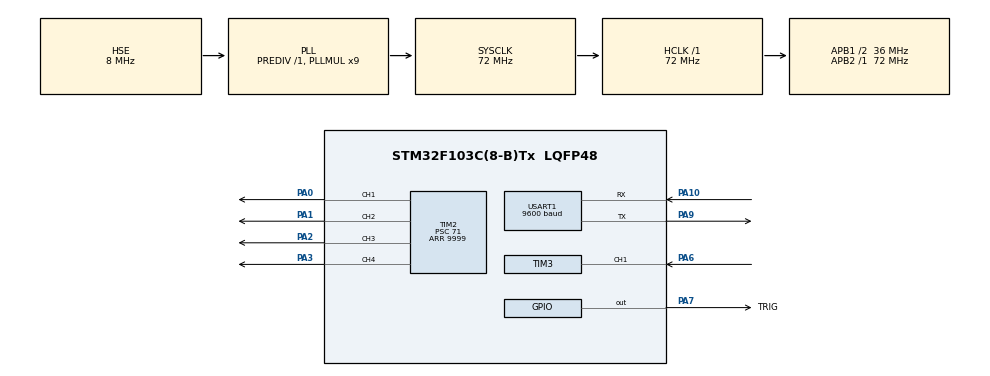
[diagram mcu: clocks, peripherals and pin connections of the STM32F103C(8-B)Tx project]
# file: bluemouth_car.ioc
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FREERTOS.BinarySemaphores01=myBinarySem01,Dynamic,NULL
FREERTOS.Tasks01=defaultTask,24,128,StartDefaultTask,Default,NULL,Dynamic,NULL,NULL;myTask02,8,128,StartTask02,Default,NULL,Dynamic,NULL,NULL
Mcu.Family=STM32F1
Mcu.Name=STM32F103C(8-B)Tx
Mcu.Package=LQFP48
NVIC.PriorityGroup=NVIC_PRIORITYGROUP_4
NVIC.TIM1_UP_IRQn=true\:15\:0\:false\:false\:true\:false\:false\:true\:true
NVIC.TIM3_IRQn=true\:5\:0\:false\:false\:true\:true\:true\:true\:true
NVIC.TimeBase=TIM1_UP_IRQn
NVIC.TimeBaseIP=TIM1
NVIC.USART1_IRQn=true\:5\:0\:false\:false\:true\:true\:true\:true\:true
PA0-WKUP.Signal=S_TIM2_CH1_ETR
PA1.Signal=S_TIM2_CH2
PA10.Mode=Asynchronous
PA10.Signal=USART1_RX
PA13.Mode=Serial_Wire
PA13.Signal=SYS_JTMS-SWDIO
PA14.Mode=Serial_Wire
PA14.Signal=SYS_JTCK-SWCLK
PA2.Signal=S_TIM2_CH3
PA3.Signal=S_TIM2_CH4
PA6.Signal=S_TIM3_CH1
PA7.GPIO_Label=TRIG
PA7.Signal=GPIO_Output
PA9.Mode=Asynchronous
PA9.Signal=USART1_TX
PD0-OSC_IN.Mode=HSE-External-Oscillator
PD0-OSC_IN.Signal=RCC_OSC_IN
PD1-OSC_OUT.Mode=HSE-External-Oscillator
PD1-OSC_OUT.Signal=RCC_OSC_OUT
ProjectManager.HeapSize=0x200
ProjectManager.StackSize=0x400
ProjectManager.TargetToolchain=MDK-ARM V5.32
RCC.AHBFreq_Value=72000000
RCC.APB1CLKDivider=RCC_HCLK_DIV2
RCC.APB1Freq_Value=36000000
RCC.APB1TimFreq_Value=72000000
RCC.APB2Freq_Value=72000000
RCC.APB2TimFreq_Value=72000000
RCC.HCLKFreq_Value=72000000
RCC.PLLMUL=RCC_PLL_MUL9
RCC.PLLSourceVirtual=RCC_PLLSOURCE_HSE
RCC.SYSCLKFreq_VALUE=72000000
RCC.SYSCLKSource=RCC_SYSCLKSOURCE_PLLCLK
RCC.USBFreq_Value=72000000
SH.S_TIM2_CH1_ETR.0=TIM2_CH1,PWM Generation1 CH1
SH.S_TIM2_CH2.0=TIM2_CH2,PWM Generation2 CH2
SH.S_TIM2_CH3.0=TIM2_CH3,PWM Generation3 CH3
SH.S_TIM2_CH4.0=TIM2_CH4,PWM Generation4 CH4
SH.S_TIM3_CH1.0=TIM3_CH1,Input_Capture1_from_TI1
TIM2.Channel-PWM\ Generation1\ CH1=TIM_CHANNEL_1
TIM2.Channel-PWM\ Generation2\ CH2=TIM_CHANNEL_2
TIM2.Channel-PWM\ Generation3\ CH3=TIM_CHANNEL_3
TIM2.Channel-PWM\ Generation4\ CH4=TIM_CHANNEL_4
TIM2.Period=9999
TIM2.Prescaler=71
TIM3.AutoReloadPreload=TIM_AUTORELOAD_PRELOAD_ENABLE
TIM3.Channel-Input_Capture1_from_TI1=TIM_CHANNEL_1
TIM3.Period=99
TIM3.Prescaler=71
USART1.BaudRate=9600
USART1.VirtualMode=VM_ASYNC
VP_FREERTOS_VS_CMSIS_V2.Mode=CMSIS_V2
VP_SYS_VS_tim1.Mode=TIM1
VP_TIM3_VS_ClockSourceINT.Mode=Internal
board=custom

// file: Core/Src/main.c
/* USER CODE BEGIN Header */
/**
  ******************************************************************************
  * @file           : main.c
  * @brief          : Main program body
  ******************************************************************************
  * @attention
  *
  * Copyright (c) 2022 STMicroelectronics.
  * All rights reserved.
  *
  * This software is licensed under terms that can be found in the LICENSE file
  * in the root directory of this software component.
  * If no LICENSE file comes with this software, it is provided AS-IS.
  *
  ******************************************************************************
  */
/* USER CODE END Header */
#include "main.h"
#include "cmsis_os.h"
#include "tim.h"
#include "usart.h"
#include "gpio.h"

/* USER CODE BEGIN Includes */
#include "freertos.h"
#include "stdio.h"
/* USER CODE END Includes */

/* USER CODE BEGIN PTD */
char buf[1];

	uint32_t capture_Buf[3] = {0};
	uint8_t capture_Cnt = 0;
	uint8_t overload_Cnt = 0;
	uint32_t high_time;
	uint32_t low_time;
	uint8_t a[1];
	double HL_time;
	double LL_time;
	double fre;
	double duty;
	float Distance;
/* USER CODE END PTD */

void SystemClock_Config(void);
void MX_FREERTOS_Init(void);

/* USER CODE BEGIN 0 */
	void delay_us(uint16_t us)
{
	__HAL_TIM_SET_COUNTER (&htim3 ,0);
	while(__HAL_TIM_GET_COUNTER (&htim3 )<us );
}

uint16_t HCSR04_Read(void )
{
	HAL_GPIO_WritePin (TRIG_GPIO_Port ,TRIG_Pin ,GPIO_PIN_RESET );
	delay_us (2);
	HAL_GPIO_WritePin (TRIG_GPIO_Port ,TRIG_Pin ,GPIO_PIN_SET );
	delay_us (12);
	HAL_GPIO_WritePin (TRIG_GPIO_Port ,TRIG_Pin ,GPIO_PIN_RESET );
	HAL_Delay (100);
}
/* USER CODE END 0 */

int main(void)
{

  /* MCU Configuration--------------------------------------------------------*/

  /* Reset of all peripherals, Initializes the Flash interface and the Systick. */
  HAL_Init();

  /* Configure the system clock */
  SystemClock_Config();

  /* Initialize all configured peripherals */
  MX_GPIO_Init();
  MX_TIM2_Init();
  MX_USART1_UART_Init();
  MX_TIM3_Init();
  /* USER CODE BEGIN 2 */

	HAL_TIM_Base_Start(&htim2);								//在定时器2的基础上开启
	HAL_TIM_PWM_Start(&htim2,TIM_CHANNEL_1);		//开启通道1  左后
	HAL_TIM_PWM_Start(&htim2,TIM_CHANNEL_2);		//开启通道2  左前
	HAL_TIM_PWM_Start(&htim2,TIM_CHANNEL_3);		//开启通道3  右前
	HAL_TIM_PWM_Start(&htim2,TIM_CHANNEL_4);		//开启通道4  右后
  HAL_UART_Receive(&huart1,(uint8_t*)buf,1,100);

	HAL_TIM_Base_Start_IT(&htim3); //开启定时器2中断
	__HAL_TIM_SET_CAPTUREPOLARITY(&htim3, TIM_CHANNEL_1,TIM_INPUTCHANNELPOLARITY_RISING);//在运行时设置输入极性  检测到上升沿了才会进入输入捕获中断回调函数

	HAL_TIM_IC_Start_IT(&htim3,TIM_CHANNEL_1);//在中断模式下启动TIM Input Capture测量。

	stop_ref();
  /* USER CODE END 2 */

  /* Init scheduler */
  osKernelInitialize();  /* Call init function for freertos objects (in freertos.c) */
  MX_FREERTOS_Init();

  /* Start scheduler */
  osKernelStart();

  /* We should never get here as control is now taken by the scheduler */
  /* Infinite loop */
  /* USER CODE BEGIN WHILE */
  while (1)
  {
		HCSR04_Read();
		printf("distance = %.3fcm \r\n",Distance);
	  osDelay(500);
    /* USER CODE END WHILE */

  }
}

void SystemClock_Config(void)
{
  RCC_OscInitTypeDef RCC_OscInitStruct = {0};
  RCC_ClkInitTypeDef RCC_ClkInitStruct = {0};

  /** Initializes the RCC Oscillators according to the specified parameters
  * in the RCC_OscInitTypeDef structure.
  */
  RCC_OscInitStruct.OscillatorType = RCC_OSCILLATORTYPE_HSE;
  RCC_OscInitStruct.HSEState = RCC_HSE_ON;
  RCC_OscInitStruct.HSEPredivValue = RCC_HSE_PREDIV_DIV1;
  RCC_OscInitStruct.HSIState = RCC_HSI_ON;
  RCC_OscInitStruct.PLL.PLLState = RCC_PLL_ON;
  RCC_OscInitStruct.PLL.PLLSource = RCC_PLLSOURCE_HSE;
  RCC_OscInitStruct.PLL.PLLMUL = RCC_PLL_MUL9;
  if (HAL_RCC_OscConfig(&RCC_OscInitStruct) != HAL_OK)
  {
    Error_Handler();
  }

  /** Initializes the CPU, AHB and APB buses clocks
  */
  RCC_ClkInitStruct.ClockType = RCC_CLOCKTYPE_HCLK|RCC_CLOCKTYPE_SYSCLK
                              |RCC_CLOCKTYPE_PCLK1|RCC_CLOCKTYPE_PCLK2;
  RCC_ClkInitStruct.SYSCLKSource = RCC_SYSCLKSOURCE_PLLCLK;
  RCC_ClkInitStruct.AHBCLKDivider = RCC_SYSCLK_DIV1;
  RCC_ClkInitStruct.APB1CLKDivider = RCC_HCLK_DIV2;
  RCC_ClkInitStruct.APB2CLKDivider = RCC_HCLK_DIV1;

  if (HAL_RCC_ClockConfig(&RCC_ClkInitStruct, FLASH_LATENCY_2) != HAL_OK)
  {
    Error_Handler();
  }
}

/* USER CODE BEGIN 4 */

   void forward_ref()		//向前，左前右前
		{
			__HAL_TIM_SetCompare(&htim2, TIM_CHANNEL_1,2100);//左前
			__HAL_TIM_SetCompare(&htim2, TIM_CHANNEL_3,2000);//右前
			__HAL_TIM_SetCompare(&htim2, TIM_CHANNEL_2,0);
			__HAL_TIM_SetCompare(&htim2, TIM_CHANNEL_4,0);
		}
		void back_ref()			//向后，左后右后
		{
			__HAL_TIM_SetCompare(&htim2, TIM_CHANNEL_3,0);//右后
			__HAL_TIM_SetCompare(&htim2, TIM_CHANNEL_1,0);
			__HAL_TIM_SetCompare(&htim2, TIM_CHANNEL_2,2000);//左后
			__HAL_TIM_SetCompare(&htim2, TIM_CHANNEL_4,2000);
		}
		void left_ref()			//左转，左后右前
		{
			__HAL_TIM_SetCompare(&htim2, TIM_CHANNEL_4,0);
			__HAL_TIM_SetCompare(&htim2, TIM_CHANNEL_1,0);
			__HAL_TIM_SetCompare(&htim2, TIM_CHANNEL_2,1300);
			__HAL_TIM_SetCompare(&htim2, TIM_CHANNEL_3,1800);
		}
		void right_ref()		//右转，左前右后
		{
			__HAL_TIM_SetCompare(&htim2, TIM_CHANNEL_2,0);
			__HAL_TIM_SetCompare(&htim2, TIM_CHANNEL_3,0);
			__HAL_TIM_SetCompare(&htim2, TIM_CHANNEL_1,2000);
			__HAL_TIM_SetCompare(&htim2, TIM_CHANNEL_4,0);
		}
		void stop_ref()			//占空比都为0
		{
			__HAL_TIM_SetCompare(&htim2, TIM_CHANNEL_1,0);
			__HAL_TIM_SetCompare(&htim2, TIM_CHANNEL_2,0);
			__HAL_TIM_SetCompare(&htim2, TIM_CHANNEL_3,0);
			__HAL_TIM_SetCompare(&htim2, TIM_CHANNEL_4,0);
		}

void HAL_TIM_IC_CaptureCallback(TIM_HandleTypeDef *htim)
{
	if(htim -> Instance == htim3.Instance)
	{
		switch(capture_Cnt)
		{
			case 0:
				capture_Buf[0] = HAL_TIM_ReadCapturedValue(&htim3, TIM_CHANNEL_1);
			  __HAL_TIM_SET_CAPTUREPOLARITY(&htim3, TIM_CHANNEL_1, TIM_ICPOLARITY_FALLING);
			  overload_Cnt = 0;
			  capture_Cnt++;
				break;
			case 1:
				capture_Buf[1] = HAL_TIM_ReadCapturedValue(&htim3,TIM_CHANNEL_1);
		  	high_time =  (capture_Buf[1] - capture_Buf[0]) + overload_Cnt * 100;
				overload_Cnt = 0;
				__HAL_TIM_SET_CAPTUREPOLARITY(&htim3, TIM_CHANNEL_1, TIM_ICPOLARITY_RISING);
				capture_Cnt++;
		    break;
			case 2:
				capture_Buf[2] = HAL_TIM_ReadCapturedValue(&htim3, TIM_CHANNEL_1);
			  HAL_TIM_IC_Stop_IT(&htim3,TIM_CHANNEL_1);//中断模式下停止输入捕获的测量

				low_time = (capture_Buf[2] - capture_Buf[1]) + overload_Cnt * 100;

				HL_time = high_time * 0.001;
			  LL_time = low_time * 0.001;
				fre = 1000/(HL_time + LL_time);
				duty = HL_time/(HL_time + LL_time) * 100;

//		  	__HAL_TIM_SET_COUNTER (&htim2, 0);//计数器内记的值变为0
	     Distance = high_time *0.017;
				capture_Cnt = 0;
			  overload_Cnt = 0;
				__HAL_TIM_SET_CAPTUREPOLARITY(&htim3, TIM_CHANNEL_1, TIM_INPUTCHANNELPOLARITY_RISING);
				HAL_TIM_IC_Start_IT(&htim3,TIM_CHANNEL_1);////在中断模式下启动TIM Input Capture测量。
			  break;
		}
	}
}

/* USER CODE END 4 */

void HAL_TIM_PeriodElapsedCallback(TIM_HandleTypeDef *htim)
{
  /* USER CODE BEGIN Callback 0 */
if(htim -> Instance == htim3.Instance)
	{
		overload_Cnt++;
	}
  /* USER CODE END Callback 0 */
  if (htim->Instance == TIM1) {
    HAL_IncTick();
  }
}

void Error_Handler(void)
{
  __disable_irq();
  while (1)
  {
  }
}

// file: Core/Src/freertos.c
/* USER CODE BEGIN Header */
/**
  ******************************************************************************
  * File Name          : freertos.c
  * Description        : Code for freertos applications
  ******************************************************************************
  * @attention
  *
  * Copyright (c) 2022 STMicroelectronics.
  * All rights reserved.
  *
  * This software is licensed under terms that can be found in the LICENSE file
  * in the root directory of this software component.
  * If no LICENSE file comes with this software, it is provided AS-IS.
  *
  ******************************************************************************
  */
/* USER CODE END Header */

#include "FreeRTOS.h"
#include "task.h"
#include "main.h"
#include "cmsis_os.h"

/* USER CODE BEGIN PTD */
extern UART_HandleTypeDef huart1;
/* USER CODE END PTD */

/* Definitions for defaultTask */
osThreadId_t defaultTaskHandle;
const osThreadAttr_t defaultTask_attributes = {
  .name = "defaultTask",
  .stack_size = 128 * 4,
  .priority = (osPriority_t) osPriorityNormal,
};
/* Definitions for myTask02 */
osThreadId_t myTask02Handle;
const osThreadAttr_t myTask02_attributes = {
  .name = "myTask02",
  .stack_size = 128 * 4,
  .priority = (osPriority_t) osPriorityLow,
};
/* Definitions for myBinarySem01 */
osSemaphoreId_t myBinarySem01Handle;
const osSemaphoreAttr_t myBinarySem01_attributes = {
  .name = "myBinarySem01"
};

void StartDefaultTask(void *argument);
void StartTask02(void *argument);

void MX_FREERTOS_Init(void); /* (MISRA C 2004 rule 8.1) */

void MX_FREERTOS_Init(void) {

  /* Create the semaphores(s) */
  /* creation of myBinarySem01 */
  myBinarySem01Handle = osSemaphoreNew(1, 1, &myBinarySem01_attributes);

  /* Create the thread(s) */
  /* creation of defaultTask */
  defaultTaskHandle = osThreadNew(StartDefaultTask, NULL, &defaultTask_attributes);

  /* creation of myTask02 */
  myTask02Handle = osThreadNew(StartTask02, NULL, &myTask02_attributes);

}

void StartDefaultTask(void *argument)
{
  /* USER CODE BEGIN StartDefaultTask */
  /* Infinite loop */
  for(;;)
  {

    switch(buf[0])
			{
				case 'f':forward_ref();break;
				case 'b':back_ref();break;
				case 's':stop_ref();break;
				case 'l':left_ref();break;
				case 'r':right_ref();break;
			}
		HAL_UART_Receive(&huart1,(uint8_t*)buf,1,100);
		osDelay(10);
  }
  /* USER CODE END StartDefaultTask */
}

void StartTask02(void *argument)
{
  for(;;)
  {
    osDelay(1);
  }
}
